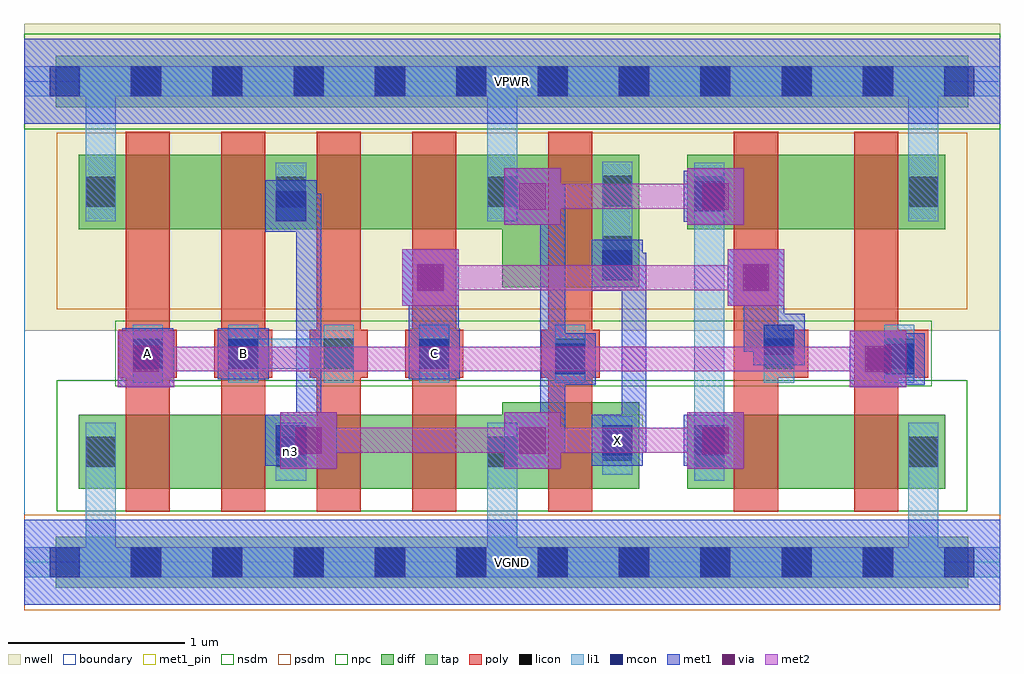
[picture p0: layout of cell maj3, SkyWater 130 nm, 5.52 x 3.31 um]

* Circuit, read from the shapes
.subckt maj3 A B C VGND VPWR X n3
XM1 n1 A VGND VGND sky130_fd_pr__nfet_01v8 w=0.42 l=0.25
XM2 n3 B n1 VGND sky130_fd_pr__nfet_01v8 w=0.42 l=0.25
XM3 n2 B n3 VGND sky130_fd_pr__nfet_01v8 w=0.42 l=0.25
XM4 VGND C n2 VGND sky130_fd_pr__nfet_01v8 w=0.42 l=0.25
XM5 X n3 VGND VGND sky130_fd_pr__nfet_01v8 w=0.49 l=0.25
XM6 n4 C n3 VGND sky130_fd_pr__nfet_01v8 w=0.42 l=0.25
XM7 VGND A n4 VGND sky130_fd_pr__nfet_01v8 w=0.42 l=0.25
XM8 n5 A VPWR VPWR sky130_fd_pr__pfet_01v8 w=0.42 l=0.25
XM9 n3 B n5 VPWR sky130_fd_pr__pfet_01v8 w=0.42 l=0.25
XM10 n6 B n3 VPWR sky130_fd_pr__pfet_01v8 w=0.42 l=0.25
XM11 VPWR C n6 VPWR sky130_fd_pr__pfet_01v8 w=0.42 l=0.25
XM12 X n3 VPWR VPWR sky130_fd_pr__pfet_01v8 w=0.75 l=0.25
XM13 n7 C n3 VPWR sky130_fd_pr__pfet_01v8 w=0.42 l=0.25
XM14 VPWR A n7 VPWR sky130_fd_pr__pfet_01v8 w=0.42 l=0.25
.ends

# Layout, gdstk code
import gdstk
lib = gdstk.Library(unit=1e-6, precision=1e-09)
def R(c, l, rs):  # rectangles x0, y0, x1, y1
    for r in rs: c.add(gdstk.rectangle(r[:2], r[2:], *l))
def A(c, l, x, y, w, h, nx, ny, dx, dy):  # array of equal rectangles
    R(c, l, [(x+i*dx, y+j*dy, x+i*dx+w, y+j*dy+h) for i in range(nx) for j in range(ny)])
nwell = (64, 20)
diff = (65, 20)
tap = (65, 44)
poly = (66, 20)
licon = (66, 44)
li1 = (67, 20)
mcon = (67, 44)
met1_pin = (68, 16)
met1 = (68, 20)
via = (68, 44)
met2 = (69, 20)
nsdm = (93, 44)
psdm = (94, 20)
npc = (95, 20)
boundary = (235, 4)

maj3 = lib.new_cell('maj3')
R(maj3, nwell, [(0,1.31,5.52,3.045)])
R(maj3, diff, [(0.31,0.415,2.705,0.835), (2.705,0.415,3.48,0.905), (3.75,0.415,5.21,0.835), (2.705,1.555,3.48,2.305), (0.31,1.885,2.705,2.305), (3.75,1.885,5.21,2.305)])
R(maj3, tap, [(0.18,-0.145,5.34,0.145), (0.18,2.575,5.34,2.865)])
A(maj3, poly, 0.575, 0.285, 0.25, 2.15, 4, 1, 0.54, 0)
A(maj3, poly, 0.535, 1.045, 0.33, 0.27, 4, 1, 0.54, 0)
R(maj3, poly, [(2.965,0.285,3.215,2.435), (4.015,0.285,4.265,2.435), (4.695,0.285,4.945,2.435), (2.925,1.045,3.255,1.315), (4.105,1.045,4.435,1.315), (4.785,1.045,5.115,1.315)])
A(maj3, licon, 0.605, -0.085, 0.17, 0.17, 10, 2, 0.46, 2.72)
A(maj3, licon, 0.615, 1.095, 0.17, 0.17, 4, 1, 0.54, 0)
R(maj3, licon, [(0.35,0.54,0.52,0.71), (1.425,0.54,1.595,0.71), (2.62,0.54,2.79,0.71), (3.79,0.54,3.96,0.71), (5,0.54,5.17,0.71), (3.27,0.575,3.44,0.745), (3.005,1.095,3.175,1.265), (4.185,1.095,4.355,1.265), (4.865,1.095,5.035,1.265), (3.27,1.675,3.44,1.845), (0.35,2.01,0.52,2.18), (1.425,2.01,1.595,2.18), (2.62,2.01,2.79,2.18), (3.79,2.01,3.96,2.18), (5,2.01,5.17,2.18), (3.27,2.015,3.44,2.185)])
A(maj3, li1, 0.615, 1.015, 0.17, 0.33, 4, 1, 0.54, 0)
R(maj3, li1, [(0,-0.085,5.52,0.085), (0.35,-0.085,0.52,0.79), (2.62,-0.085,2.79,0.79), (5,-0.085,5.17,0.79), (0.35,0.46,0.52,0.79), (1.425,0.46,1.595,0.79), (2.62,0.46,2.79,0.79), (3.79,0.46,3.96,0.79), (3.79,0.46,3.96,2.26), (5,0.46,5.17,0.79), (3.27,0.495,3.44,0.825), (3.005,1.015,3.175,1.345), (4.185,1.015,4.355,1.345), (4.865,1.015,5.035,1.345), (1.155,1.095,1.865,1.265), (3.27,1.595,3.44,2.265), (0.35,1.93,0.52,2.26), (0.35,1.93,0.52,2.805), (1.425,1.93,1.595,2.26), (2.62,1.93,2.79,2.26), (2.62,1.93,2.79,2.805), (3.79,1.93,3.96,2.26), (5,1.93,5.17,2.26), (5,1.93,5.17,2.805), (0,2.635,5.52,2.805)])
A(maj3, mcon, 0.145, -0.085, 0.17, 0.17, 12, 2, 0.46, 2.72)
R(maj3, mcon, [(1.425,0.605,1.595,0.775), (3.27,0.605,3.44,0.775), (3.79,0.605,3.96,0.775), (3.005,1.065,3.175,1.235), (4.865,1.065,5.035,1.235), (0.615,1.095,0.785,1.265), (1.155,1.095,1.325,1.265), (2.235,1.095,2.405,1.265), (4.185,1.175,4.355,1.345), (3.27,1.595,3.44,1.765), (1.425,1.93,1.595,2.1), (3.79,1.985,3.96,2.155)])
R(maj3, met1_pin, [(0,-0.24,5.52,0.24), (3.21,0.545,3.5,0.835), (0.555,1.035,0.845,1.325), (1.095,1.035,1.385,1.325), (2.175,1.035,2.465,1.325), (0,2.48,5.52,2.96)])
R(maj3, met1, [(0,-0.24,5.52,0.24), (1.45,0.53,1.77,0.85), (2.715,0.53,3.035,0.85), (3.75,0.53,4.07,0.85), (1.365,0.545,1.655,0.835), (3.21,0.545,3.5,0.835), (3.73,0.545,4.02,0.835), (1.44,0.62,1.68,0.76), (1.54,0.62,1.68,1.91), (2.805,0.62,3.06,0.76), (2.92,0.62,3.06,1.22), (3.285,0.62,3.52,0.76), (3.38,0.62,3.52,1.565), (3.805,0.62,3.98,0.76), (0.53,0.99,0.85,1.31), (4.67,0.99,4.99,1.31), (2.945,1.005,3.235,1.295), (4.805,1.005,5.095,1.295), (0.555,1.035,0.845,1.325), (1.095,1.035,1.385,1.325), (2.175,1.035,2.465,1.325), (0.62,1.08,0.76,1.22), (2.23,1.08,2.37,1.22), (2.23,1.08,2.37,1.68), (2.92,1.08,3.16,1.22), (2.92,1.08,3.06,2.14), (4.76,1.08,5.02,1.22), (4.125,1.115,4.415,1.405), (4.07,1.19,4.34,1.33), (4.07,1.19,4.21,1.45), (4.07,1.31,4.21,1.68), (2.175,1.325,2.46,1.45), (4.07,1.33,4.3,1.45), (4.125,1.405,4.3,1.45), (3.38,1.425,3.52,1.75), (2.14,1.45,2.46,1.77), (3.98,1.45,4.3,1.77), (3.21,1.535,3.5,1.825), (3.285,1.61,3.52,1.75), (1.54,1.77,1.68,2.085), (1.365,1.87,1.655,2.16), (2.715,1.91,3.035,2.23), (3.75,1.91,4.07,2.23), (3.73,1.925,4.02,2.215), (1.44,1.945,1.68,2.085), (2.805,2,3.06,2.14), (3.805,2,3.98,2.14), (0,2.48,5.52,2.96)])
R(maj3, via, [(1.535,0.615,1.685,0.765), (2.8,0.615,2.95,0.765), (3.835,0.615,3.985,0.765), (0.615,1.075,0.765,1.225), (4.755,1.075,4.905,1.225), (2.225,1.535,2.375,1.685), (4.065,1.535,4.215,1.685), (2.8,1.995,2.95,2.145), (3.835,1.995,3.985,2.145)])
R(maj3, met2, [(1.45,0.53,1.77,0.85), (2.715,0.53,3.035,0.85), (3.75,0.53,4.07,0.85), (1.54,0.62,2.945,0.76), (2.805,0.62,3.98,0.76), (0.53,0.99,0.85,1.31), (4.67,0.99,4.99,1.31), (0.62,1.08,4.9,1.22), (2.14,1.45,2.46,1.77), (3.98,1.45,4.3,1.77), (2.23,1.54,4.21,1.68), (2.715,1.91,3.035,2.23), (3.75,1.91,4.07,2.23), (2.805,2,3.98,2.14)])
R(maj3, nsdm, [(0.185,0.29,5.335,1.03), (0,2.45,5.52,2.99)])
R(maj3, psdm, [(0,-0.27,5.52,0.27), (0.185,1.43,5.335,2.43)])
R(maj3, npc, [(0.515,0.995,5.135,1.365)])
R(maj3, boundary, [(0,0,5.52,2.72)])
maj3.add(gdstk.Label('n3', (1.51,0.625), layer=67, texttype=5))
maj3.add(gdstk.Label('A', (0.7,1.18), layer=68, texttype=5))
maj3.add(gdstk.Label('B', (1.24,1.18), layer=68, texttype=5))
maj3.add(gdstk.Label('C', (2.32,1.18), layer=68, texttype=5))
maj3.add(gdstk.Label('X', (3.355,0.69), layer=68, texttype=5))
maj3.add(gdstk.Label('VPWR', (2.76,2.72), layer=68, texttype=5))
maj3.add(gdstk.Label('VGND', (2.76,0), layer=68, texttype=5))
maj3.add(gdstk.Label('A', (0.7,1.18), layer=68, texttype=16))
maj3.add(gdstk.Label('B', (1.24,1.18), layer=68, texttype=16))
maj3.add(gdstk.Label('C', (2.32,1.18), layer=68, texttype=16))
maj3.add(gdstk.Label('X', (3.355,0.69), layer=68, texttype=16))
maj3.add(gdstk.Label('VPWR', (2.76,2.72), layer=68, texttype=16))
maj3.add(gdstk.Label('VGND', (2.76,0), layer=68, texttype=16))

lib.write_gds('maj3.gds')
